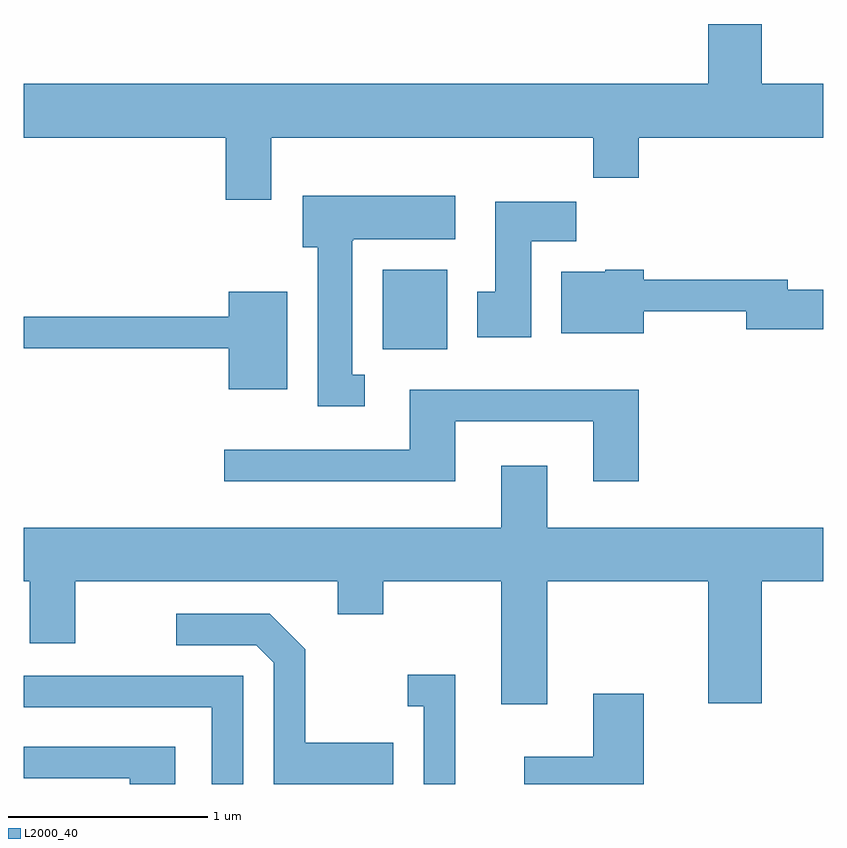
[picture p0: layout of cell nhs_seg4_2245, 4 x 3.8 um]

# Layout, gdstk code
import gdstk
lib = gdstk.Library(unit=1e-6, precision=1e-09)
def R(c, l, rs):  # rectangles x0, y0, x1, y1
    for r in rs: c.add(gdstk.rectangle(r[:2], r[2:], *l))
def P(c, l, *ps):  # polygons
    for p in ps: c.add(gdstk.Polygon(p, *l))
L2000_40 = (2000, 40)

nhs_seg4_2245 = lib.new_cell('nhs_seg4_2245')
R(nhs_seg4_2245, L2000_40, [(253.406,1258.156,253.729,1258.554)])
P(nhs_seg4_2245, L2000_40, [(252.849,1259.216),(254.461,1259.216),(254.461,1259.016),(254.689,1259.016),(254.689,1259.216),(255.611,1259.216),(255.611,1259.484),(255.304,1259.484),(255.304,1259.784),(255.036,1259.784),(255.036,1259.484),(251.611,1259.484),(251.611,1259.216),(252.621,1259.216),(252.621,1258.906),(252.849,1258.906)],
  [(253.318,1258.029),(253.254,1258.029),(253.254,1258.7),(253.26,1258.7),(253.26,1258.706),(253.769,1258.706),(253.769,1258.924),(253.006,1258.924),(253.006,1258.666),(253.081,1258.666),(253.081,1257.871),(253.318,1257.871)],
  [(254.149,1258.696),(254.374,1258.696),(254.374,1258.894),(253.971,1258.894),(253.971,1258.444),(253.881,1258.444),(253.881,1258.216),(254.149,1258.216)],
  [(254.714,1258.346),(255.226,1258.346),(255.226,1258.256),(255.611,1258.256),(255.611,1258.454),(255.434,1258.454),(255.434,1258.504),(254.714,1258.504),(254.714,1258.554),(254.52,1258.554),(254.52,1258.544),(254.301,1258.544),(254.301,1258.236),(254.714,1258.236)],
  [(252.929,1258.444),(252.636,1258.444),(252.636,1258.319),(251.611,1258.319),(251.611,1258.161),(252.636,1258.161),(252.636,1257.956),(252.929,1257.956)],
  [(253.769,1257.796),(254.461,1257.796),(254.461,1257.496),(254.689,1257.496),(254.689,1257.954),(253.541,1257.954),(253.541,1257.654),(252.613,1257.654),(252.613,1257.496),(253.769,1257.496)],
  [(254.229,1256.996),(255.036,1256.996),(255.036,1256.386),(255.304,1256.386),(255.304,1256.996),(255.611,1256.996),(255.611,1257.264),(254.229,1257.264),(254.229,1257.574),(254.001,1257.574),(254.001,1257.264),(251.611,1257.264),(251.611,1256.996),(251.641,1256.996),(251.641,1256.686),(251.869,1256.686),(251.869,1256.996),(253.181,1256.996),(253.181,1256.831),(253.409,1256.831),(253.409,1256.996),(254.001,1256.996),(254.001,1256.381),(254.229,1256.381)],
  [(253.459,1256.189),(253.019,1256.189),(253.019,1256.657),(252.842,1256.834),(252.373,1256.834),(252.373,1256.676),(252.774,1256.676),(252.861,1256.589),(252.861,1255.982),(253.459,1255.982)],
  [(253.769,1256.529),(253.533,1256.529),(253.533,1256.371),(253.611,1256.371),(253.611,1255.982),(253.769,1255.982)],
  [(252.709,1256.524),(251.611,1256.524),(251.611,1256.366),(252.551,1256.366),(252.551,1255.982),(252.709,1255.982)],
  [(254.714,1256.434),(254.461,1256.434),(254.461,1256.119),(254.116,1256.119),(254.116,1255.982),(254.714,1255.982)],
  [(252.369,1256.169),(251.611,1256.169),(251.611,1256.011),(252.141,1256.011),(252.141,1255.982),(252.369,1255.982)])

lib.write_gds('nhs_seg4_2245.gds')
